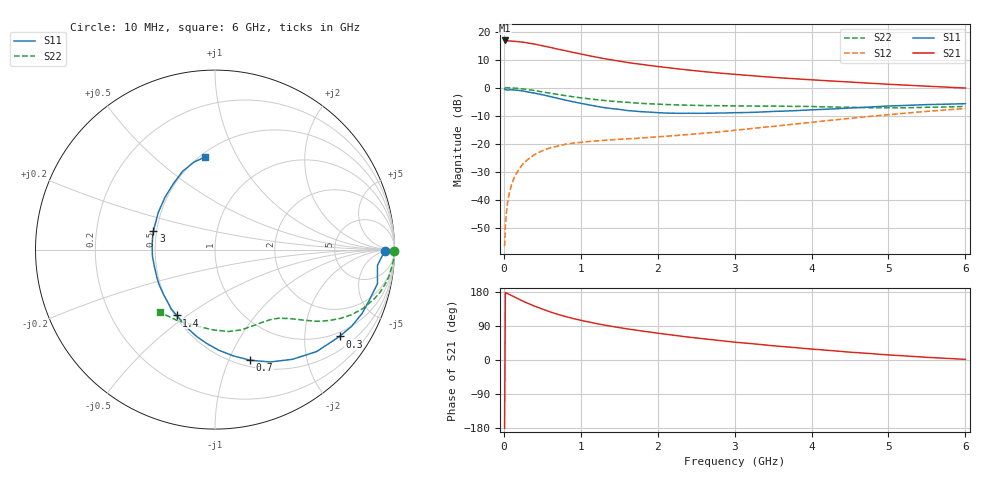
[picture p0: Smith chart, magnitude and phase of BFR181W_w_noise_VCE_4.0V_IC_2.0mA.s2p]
! Infineon Technologies  Discrete & RF Semiconductors
! BFR181W
! VCE =  4.0 V,  IC =  2.0 mA
! Common Emitter S-Parameters:  Jan 2017
# GHz  S  MA  R  50
!  f  S11  S21  S12  S22
! GHz  MAG  ANG  MAG  ANG  MAG  ANG  MAG  ANG
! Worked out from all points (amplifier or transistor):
!   77 points, 10 MHz to 6 GHz, reference 50 ohm
!   highest |S21| = 16.8 dB at 10 MHz (marker M1)
!   |S21| within 3 dB of that: start of sweep to 687.5 MHz
!   unconditionally stable (mu >= 1): 1.88 GHz to 3.95 GHz
!   at 130 MHz: K = 0.07, MSG = 24.5 dB, |S12| = -32.4 dB
!   at 2.2 GHz: K = 1.08, MAG = 10.3 dB, |S12| = -17.1 dB
!   at 6 GHz: K = 0.84, MSG = 3.6 dB, |S12| = -7.4 dB
!   lowest NFmin = 0.84 dB at 450 MHz
!   S11 on the Smith chart (normalised r, x): 10 MHz: 36, -4; 300 MHz: 0.87, -2.95; 700 MHz: 0.57, -1.20; 1.4 GHz: 0.51, -0.46; 3 GHz: 0.48, +0.12; 6 GHz: 0.53, +0.74
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0.01  0.9462 -0.4  6.947 -179.9  0.0015 79.9  1 -0.6
0.02  0.922 -3.6  6.857 178.0  0.0034 100.7  0.9927 -1.0
0.03  0.9177 -4.2  6.85 177.1  0.0053 91.0  0.9941 -1.7
0.05  0.9094 -5.5  6.84 175.2  0.0092 83.9  0.9972 -3.0
0.08  0.9172 -9.4  6.796 172.2  0.0148 83.3  0.9915 -4.8
0.15  0.9049 -18.1  6.698 165.3  0.0275 80.0  0.9799 -9.0
0.25  0.8723 -29.4  6.477 155.2  0.044 73.2  0.9501 -14.5
0.3  0.8459 -34.9  6.307 150.5  0.051 69.9  0.9292 -17.1
0.4  0.8021 -45.1  5.989 142.0  0.0644 64.3  0.8882 -21.6
0.5  0.7481 -54.8  5.599 134.4  0.0754 59.8  0.8429 -25.5
0.6  0.6977 -63.8  5.239 127.1  0.0847 55.5  0.799 -28.6
0.7  0.6472 -72.3  4.874 120.6  0.0909 52.7  0.7585 -31.2
0.9  0.5618 -87.7  4.25 109.5  0.1027 47.9  0.689 -35.4
1.1  0.4961 -101.6  3.736 100.5  0.1098 45.6  0.6354 -38.3
1.4  0.4244 -120.2  3.135 88.9  0.1179 44.0  0.5752 -42.1
1.8  0.3728 -143.5  2.593 76.3  0.1276 45.1  0.5247 -46.7
2.1  0.3536 -159.1  2.301 68.2  0.1362 46.9  0.5025 -50.6
3  0.3585 163.0  1.732 47.0  0.174 52.9  0.4739 -64.0
3.1  0.36 159.7  1.688 45.3  0.18 53.4  0.4726 -65.5
4.1  0.4084 131.2  1.357 27.3  0.2498 54.6  0.4583 -82.7
5.1  0.4767 110.7  1.133 12.2  0.3398 49.6  0.4377 -107.3
6  0.5191 96.4  0.986 1.6  0.4266 41.7  0.4644 -131.2
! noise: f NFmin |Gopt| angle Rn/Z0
0.45  0.84  0.56  18  0.32
0.9  0.9  0.51  33  0.3
1.9  1.35  0.31  81  0.23
2.4  1.58  0.27  95  0.25
